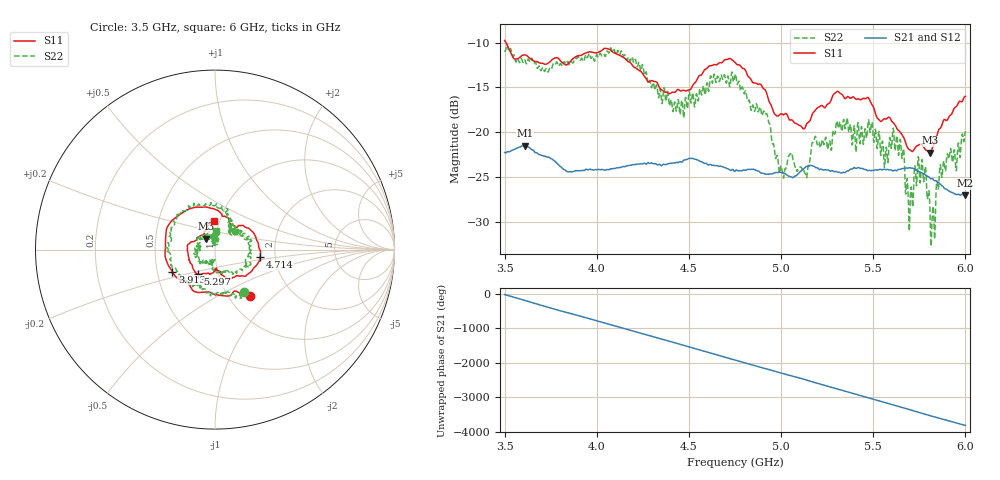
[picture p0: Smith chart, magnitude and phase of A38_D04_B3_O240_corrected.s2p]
! Created with skrf 1.9.0 (http://scikit-rf.org).
# Hz S RI R 50.0
!freq ReS11 ImS11 ReS21 ImS21 ReS12 ImS12 ReS22 ImS22
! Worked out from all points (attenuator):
!   1601 points, 3.5 GHz to 6 GHz, reference 50 ohm
!   highest |S21| = -21.52 dB at 3.611 GHz (marker M1); lowest = -27.1 dB at 5.997 GHz (marker M2)
!   lowest |S11| = -22.3 dB at 5.806 GHz (marker M3), VSWR 1.17, Z = 45.1 + j5.46 ohm
!   |S11| at or under -10 dB: 3.507 GHz to end of sweep
!   |S22| runs from -32.8 to -10.2 dB; largest |S21 - S12| = 0.001
!   S11 on the Smith chart (normalised r, x): 3.5 GHz: 1.25, -0.73; 3.913 GHz: 0.60, -0.16; 4.714 GHz: 1.67, -0.15; 5.297 GHz: 0.80, -0.22; 6 GHz: 0.94, +0.30
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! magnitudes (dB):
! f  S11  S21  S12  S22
! 3.5 GHz  -9.8  -22.3  -22.3  -10.9
! 3.611 GHz  -11.4  -21.5  -21.5  -12.0
! 3.913 GHz  -11.4  -24.3  -24.3  -12.0
! 3.917 GHz  -11.4  -24.3  -24.3  -11.8
! 4.125 GHz  -11.4  -24.0  -23.9  -11.4
! 4.334 GHz  -14.8  -23.6  -23.6  -16.1
! 4.463 GHz  -15.4  -23.4  -23.3  -16.4
! 4.714 GHz  -11.8  -24.1  -24.1  -13.9
! 4.75 GHz  -12.2  -24.4  -24.3  -13.6
! 4.917 GHz  -15.4  -24.7  -24.6  -18.0
! 5.003 GHz  -18.0  -24.5  -24.5  -24.1
! 5.167 GHz  -18.1  -23.8  -23.7  -21.3
! 5.297 GHz  -15.6  -24.4  -24.3  -19.5
! 5.584 GHz  -18.4  -24.2  -24.2  -21.8
! 5.655 GHz  -20.3  -24.1  -24.0  -22.8
! 5.703 GHz  -22.1  -24.0  -24.0  -26.5
! 5.773 GHz  -21.7  -24.7  -24.6  -25.6
! 5.806 GHz  -22.3  -25.1  -25.1  -27.8
! 5.823 GHz  -21.6  -25.2  -25.2  -28.4
! 5.872 GHz  -19.3  -26.0  -25.9  -25.1
! 5.997 GHz  -16.0  -27.1  -27.0  -20.3
! 6 GHz  -16.0  -27.0  -27.0  -19.9
